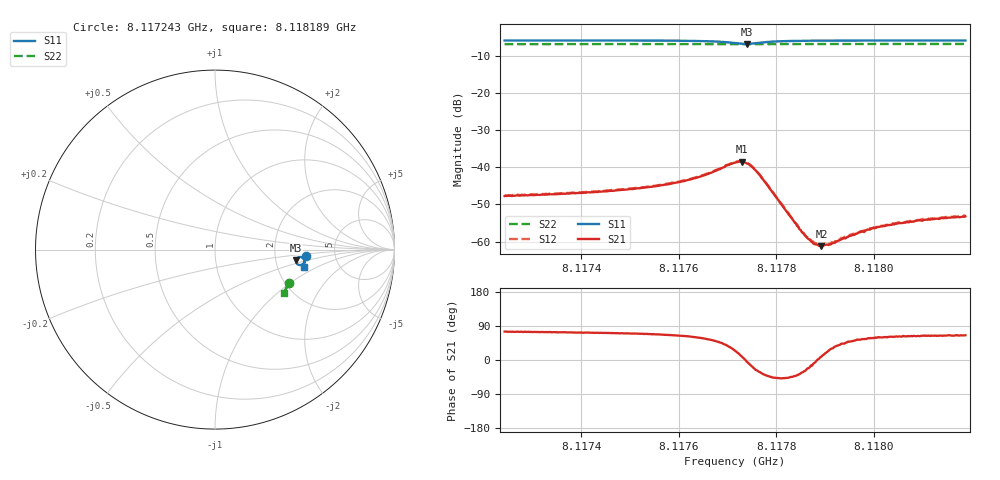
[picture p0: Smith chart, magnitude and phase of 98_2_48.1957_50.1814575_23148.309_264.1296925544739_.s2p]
#  HZ  S  RI  R  50.00
! Rohde & Schwarz Vector Network Analyzer
! Rohde-Schwarz,ZNB20-2Port,1311601062101988,3.16
! Created: UTC 3/20/2024, 11:40:22 AM
! freq[Hz]  re:S11  im:S11  re:S21  im:S21  re:S12  im:S12  re:S22  im:S22
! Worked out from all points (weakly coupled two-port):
!   401 points, 8.117243 GHz to 8.118189 GHz, reference 50 ohm
!   highest |S21| = -38.48 dB at 8.11773 GHz (marker M1); lowest = -61.2 dB at 8.117893 GHz (marker M2)
!   lowest |S11| = -6.8 dB at 8.117739 GHz (marker M3), VSWR 2.67, Z = 130 - j19.3 ohm
!   |S11| at or under -10 dB: nowhere
!   |S22| runs from -6.9 to -6.9 dB; largest |S21 - S12| = 0.00041
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8.1172432e9  0.5043 -0.0362  0.00106 0.00396  0.00116 0.00404  0.4113 -0.1855
8.1174015e9  0.5026 -0.0498  0.00137 0.00433  0.00148 0.00437  0.4071 -0.1959
8.1174984e9  0.5008 -0.0593  0.00174 0.00474  0.00177 0.00483  0.4043 -0.2022
8.1175599e9  0.4987 -0.0664  0.00216 0.00521  0.00224 0.0053  0.4026 -0.2061
8.1176048e9  0.4958 -0.0724  0.0028 0.00574  0.0029 0.00582  0.401 -0.2091
8.1176402e9  0.4916 -0.0783  0.00374 0.00631  0.00386 0.00639  0.3998 -0.2113
8.1177159e9  0.459 -0.0816  0.0105 0.00477  0.0107 0.00472  0.396 -0.2156
8.11773e9  0.4511 -0.0695  0.0118 0.00184  0.012 0.00159  0.3954 -0.2158
8.1177395e9  0.4509 -0.059  0.0112 -0.000726  0.0116 -0.000771  0.3952 -0.2159
8.1177513e9  0.4574 -0.0476  0.00954 -0.00296  0.00969 -0.00318  0.3954 -0.2163
8.1177631e9  0.4672 -0.0419  0.0072 -0.0041  0.00731 -0.00423  0.3956 -0.2167
8.1178506e9  0.4966 -0.059  0.00117 -0.00083  0.00119 -0.000855  0.3939 -0.2232
8.1178647e9  0.4975 -0.0617  0.00103 -0.000413  0.00104 -0.00047  0.3936 -0.2239
8.1178742e9  0.4977 -0.0635  0.000951 -0.000253  0.000977 -0.000239  0.3932 -0.2248
8.1178837e9  0.498 -0.065  0.000914 -1.68e-05  0.0009 -3.71e-05  0.3928 -0.2254
8.1178931e9  0.4982 -0.0665  0.000857 0.000135  0.000879 0.000149  0.3927 -0.2257
8.117912e9  0.4983 -0.0691  0.000799 0.00044  0.00085 0.000422  0.392 -0.2271
8.1179735e9  0.4984 -0.0766  0.000797 0.00108  0.000818 0.00111  0.3901 -0.2309
8.1180042e9  0.4981 -0.0798  0.00077 0.00132  0.000819 0.00133  0.3889 -0.233
8.1180325e9  0.4978 -0.0827  0.000804 0.00146  0.000857 0.00152  0.3881 -0.2348
8.1181011e9  0.4971 -0.0889  0.000841 0.00172  0.000894 0.00181  0.3857 -0.2389
8.1181885e9  0.4957 -0.0964  0.000909 0.00199  0.000946 0.002  0.3826 -0.2444
